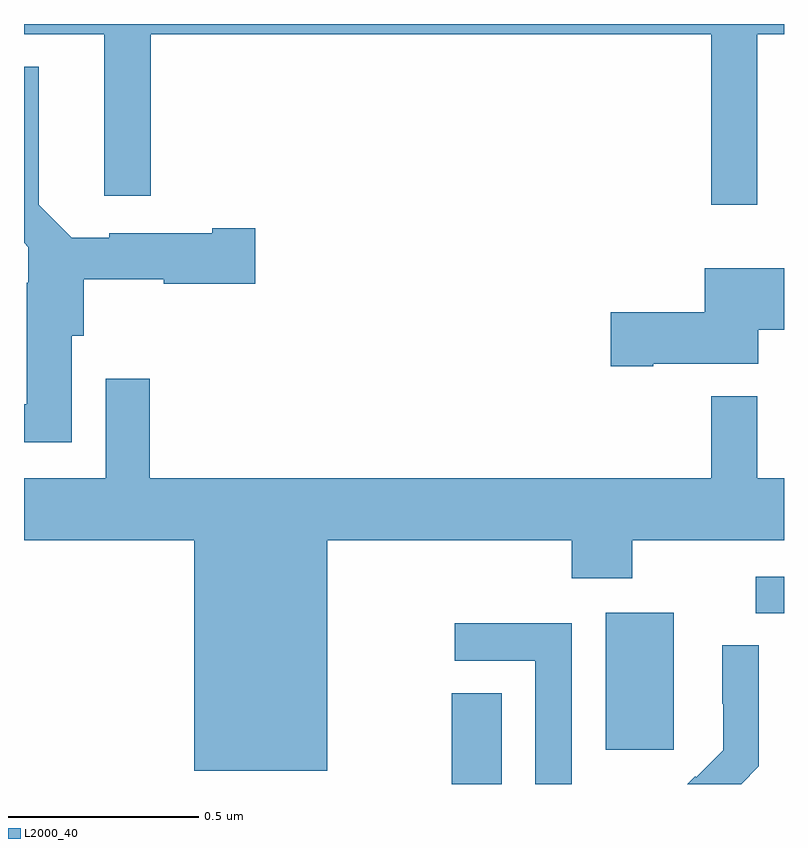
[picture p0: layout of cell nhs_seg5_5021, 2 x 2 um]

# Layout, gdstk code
import gdstk
lib = gdstk.Library(unit=1e-6, precision=1e-09)
def R(c, l, rs):  # rectangles x0, y0, x1, y1
    for r in rs: c.add(gdstk.rectangle(r[:2], r[2:], *l))
def P(c, l, *ps):  # polygons
    for p in ps: c.add(gdstk.Polygon(p, *l))
L2000_40 = (2000, 40)

nhs_seg5_5021 = lib.new_cell('nhs_seg5_5021')
R(nhs_seg5_5021, L2000_40, [(179.126,842.799,179.257,843.038), (179.531,842.889,179.71,843.25), (179.925,843.249,180,843.345)])
P(nhs_seg5_5021, L2000_40, [(179.929,844.772),(180,844.772),(180,844.799),(178,844.799),(178,844.772),(178.211,844.772),(178.211,844.347),(178.334,844.347),(178.334,844.772),(179.808,844.772),(179.808,844.323),(179.929,844.323)],
  [(178.126,843.978),(178.157,843.978),(178.157,844.127),(178.368,844.127),(178.368,844.115),(178.609,844.115),(178.609,844.262),(178.496,844.262),(178.496,844.249),(178.224,844.249),(178.224,844.237),(178.125,844.237),(178.039,844.324),(178.039,844.687),(178,844.687),(178,844.223),(178.011,844.212),(178.011,844.118),(178.007,844.118),(178.007,843.799),(178,843.799),(178,843.698),(178.126,843.698)],
  [(179.656,843.905),(179.932,843.905),(179.932,843.995),(180,843.995),(180,844.156),(179.792,844.156),(179.792,844.04),(179.544,844.04),(179.544,843.898),(179.656,843.898)],
  [(178.331,843.865),(178.215,843.865),(178.215,843.604),(178,843.604),(178,843.44),(178.448,843.44),(178.448,842.834),(178.798,842.834),(178.798,843.44),(179.441,843.44),(179.441,843.341),(179.601,843.341),(179.601,843.44),(180,843.44),(180,843.604),(179.929,843.604),(179.929,843.82),(179.808,843.82),(179.808,843.604),(178.331,843.604)],
  [(179.442,843.222),(179.133,843.222),(179.133,843.123),(179.346,843.123),(179.346,842.799),(179.442,842.799)],
  [(179.934,842.846),(179.934,843.164),(179.838,843.164),(179.838,843.01),(179.84,843.01),(179.84,842.888),(179.769,842.817),(179.766,842.82),(179.745,842.799),(179.887,842.799)])

lib.write_gds('nhs_seg5_5021.gds')
